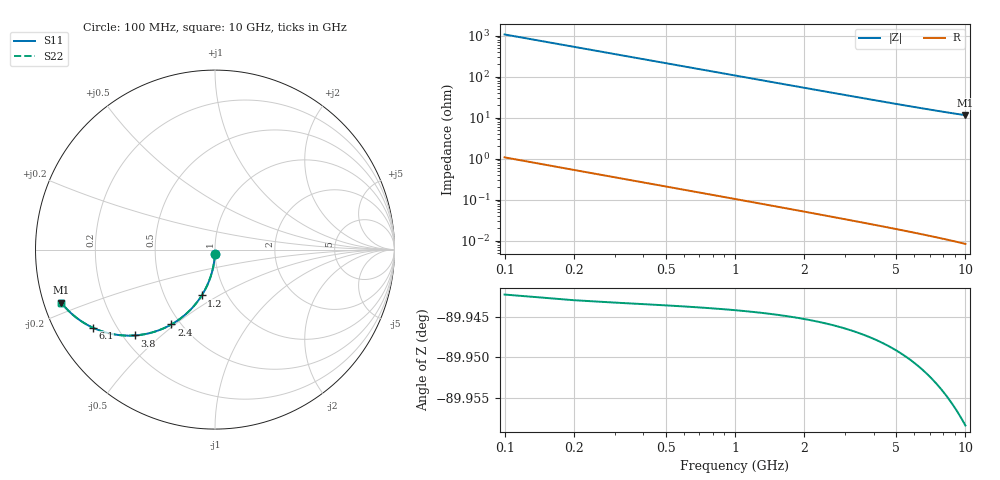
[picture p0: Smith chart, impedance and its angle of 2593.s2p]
# Hz S RI R 50.00
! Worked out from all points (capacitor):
!   100 points, 100 MHz to 10 GHz, reference 50 ohm
!   read as one part in shunt: C = 1.5 pF near 100 MHz
!   lowest |Z| = 11.4 ohm at 10 GHz (marker M1)
!   S11 on the Smith chart (normalised r, x): 100 MHz: 1.00, -0.05; 1.2 GHz: 0.76, -0.42; 2.4 GHz: 0.45, -0.49; 3.8 GHz: 0.25, -0.41; 6.1 GHz: 0.12, -0.29; 10 GHz: 0.05, -0.17
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1e8  -0.000481 -0.023  0.9993 -0.024  0.9993 -0.024  -0.000481 -0.023
2e8  -0.00216 -0.046  0.9977 -0.0479  0.9977 -0.0479  -0.00216 -0.046
3e8  -0.00492 -0.0687  0.9949 -0.0716  0.9949 -0.0716  -0.00492 -0.0687
4e8  -0.00876 -0.0913  0.991 -0.0951  0.991 -0.0951  -0.00876 -0.0913
5e8  -0.0136 -0.1136  0.9861 -0.1184  0.9861 -0.1184  -0.0136 -0.1136
6e8  -0.0196 -0.1354  0.9802 -0.1412  0.9802 -0.1412  -0.0196 -0.1354
7e8  -0.0264 -0.1569  0.9733 -0.1636  0.9733 -0.1636  -0.0264 -0.1569
9e8  -0.043 -0.1983  0.9568 -0.2069  0.9568 -0.2069  -0.043 -0.1983
1.2e9  -0.074 -0.2557  0.9257 -0.2672  0.9257 -0.2672  -0.074 -0.2557
1.5e9  -0.1111 -0.3067  0.8886 -0.3211  0.8886 -0.3211  -0.1111 -0.3067
1.8e9  -0.1526 -0.3506  0.847 -0.368  0.847 -0.368  -0.1526 -0.3506
2.1e9  -0.1971 -0.3873  0.8025 -0.4076  0.8025 -0.4076  -0.1971 -0.3873
2.4e9  -0.243 -0.4169  0.7565 -0.4401  0.7565 -0.4401  -0.243 -0.4169
2.9e9  -0.3197 -0.4519  0.6797 -0.48  0.6797 -0.48  -0.3197 -0.4519
3.4e9  -0.3932 -0.4715  0.6061 -0.5046  0.6061 -0.5046  -0.3932 -0.4715
3.8e9  -0.448 -0.4783  0.5511 -0.5154  0.5511 -0.5154  -0.448 -0.4783
4.4e9  -0.5221 -0.4774  0.4767 -0.5205  0.4767 -0.5205  -0.5221 -0.4774
5.1e9  -0.5961 -0.4649  0.4024 -0.5151  0.4024 -0.5151  -0.5961 -0.4649
6.1e9  -0.6805 -0.435  0.3175 -0.4957  0.3175 -0.4957  -0.6805 -0.435
6.7e9  -0.7209 -0.4139  0.2766 -0.4809  0.2766 -0.4809  -0.7209 -0.4139
8.4e9  -0.8049 -0.3515  0.1912 -0.4369  0.1912 -0.4369  -0.8049 -0.3515
1e10  -0.8558 -0.2961  0.1386 -0.3996  0.1386 -0.3996  -0.8558 -0.2961
